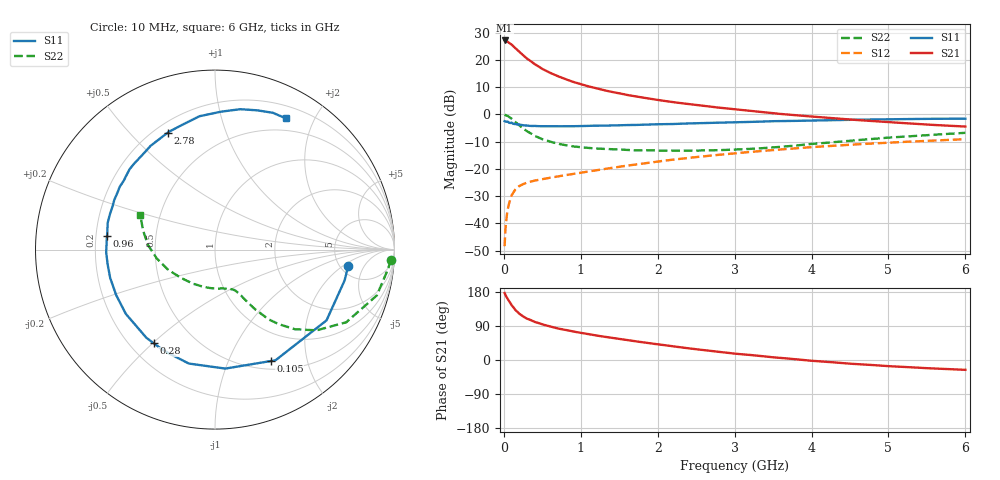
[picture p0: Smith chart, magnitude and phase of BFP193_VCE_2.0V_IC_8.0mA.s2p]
! Infineon Technologies  Discrete & RF Semiconductors
! BFP193
! VCE = 2.0 V,  IC =  8.0 mA
! Common Emitter S-Parameters:  Jan 2016
# GHz  S  MA  R  50
!  f  S11  S21  S12  S22
! GHz  MAG  ANG  MAG  ANG  MAG  ANG  MAG  ANG
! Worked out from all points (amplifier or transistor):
!   210 points, 10 MHz to 6 GHz, reference 50 ohm
!   highest |S21| = 27.1 dB at 10 MHz (marker M1)
!   |S21| within 3 dB of that: start of sweep to 156.9 MHz
!   unconditionally stable (mu >= 1): 1.097 GHz to 3.64 GHz
!   at 185 MHz: K = 0.28, MSG = 25.0 dB, |S12| = -26.7 dB
!   at 1.52 GHz: K = 1.09, MAG = 11.6 dB, |S12| = -19.2 dB
!   at 6 GHz: K = 0.91, MSG = 2.3 dB, |S12| = -9.1 dB
!   S11 on the Smith chart (normalised r, x): 10 MHz: 5.93, -2.42; 105 MHz: 0.60, -1.44; 280 MHz: 0.29, -0.50; 960 MHz: 0.25, +0.06; 2.78 GHz: 0.25, +0.65; 6 GHz: 0.34, +1.62
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0.01  0.7481 -6.9  22.69 176.8  0.0038 88.9  0.9817 -3.3
0.02  0.7423 -13.4  22.24 171.8  0.0074 83.3  0.9702 -6.4
0.05  0.7359 -32.4  21.5 160.9  0.0178 73.6  0.9371 -15.8
0.1  0.7028 -61.3  19.13 145.0  0.0323 63.4  0.8359 -29.0
0.105  0.694 -63.5  18.82 143.9  0.0332 62.1  0.8238 -29.8
0.15  0.6655 -85.0  16.4 131.7  0.0418 53.1  0.7237 -38.4
0.2  0.6514 -102.9  14.12 122.4  0.0482 47.8  0.6285 -44.9
0.24  0.633 -113.8  12.46 116.5  0.0515 44.2  0.5647 -48.3
0.28  0.6234 -123.3  11.16 111.6  0.0544 42.4  0.5141 -51.1
0.3  0.6225 -127.9  10.58 109.1  0.0558 41.8  0.491 -52.4
0.4  0.6124 -144.2  8.37 100.6  0.0607 39.2  0.403 -56.0
0.5  0.6062 -155.3  6.813 93.9  0.0644 38.7  0.3492 -58.1
0.7  0.6038 -172.2  5.026 83.3  0.0723 39.9  0.2893 -60.7
0.96  0.6064 172.7  3.719 73.1  0.083 42.1  0.2524 -64.0
1.02  0.6093 169.7  3.51 70.9  0.0855 42.5  0.2474 -65.0
1.4  0.6257 153.8  2.58 58.5  0.1035 44.7  0.2292 -72.4
2.02  0.6574 133.1  1.818 40.9  0.1371 44.7  0.2161 -88.7
2.78  0.7031 111.9  1.334 21.9  0.1798 40.6  0.2196 -114.5
3.1  0.7188 104.7  1.193 15.1  0.1982 38.2  0.2283 -126.5
4.1  0.7731 85.9  0.888 -3.4  0.255 29.2  0.2929 -160.5
5.1  0.8133 72.0  0.704 -17.2  0.3068 18.6  0.3808 173.7
6  0.8309 61.7  0.596 -26.0  0.3497 8.6  0.4574 155.3
